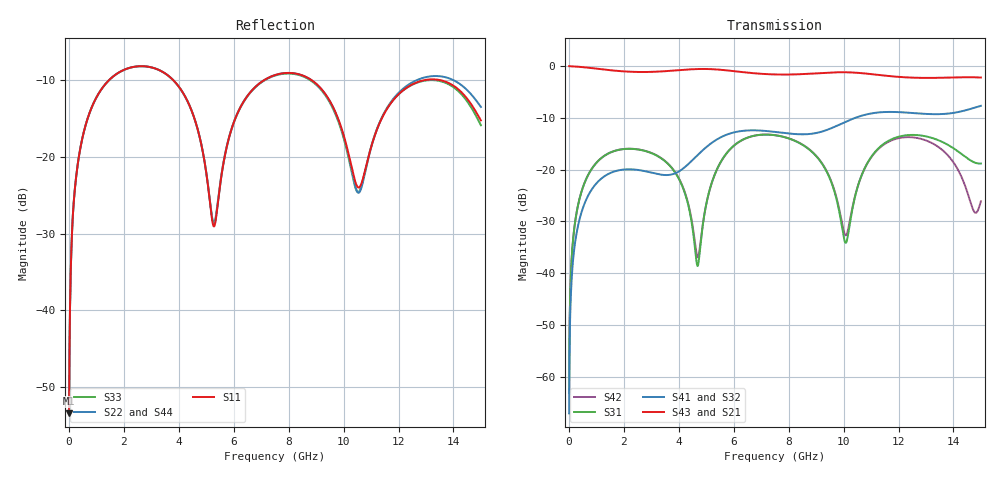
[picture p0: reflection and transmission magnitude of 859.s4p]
! Created with skrf 1.8.0 (http://scikit-rf.org).
# GHz S RI R 50.0
!freq ReS11 ImS11 ReS12 ImS12 ReS13 ImS13
! ReS14 ImS14
! ReS21 ImS21 ReS22 ImS22 ReS23 ImS23
! ReS24 ImS24
! ReS31 ImS31 ReS32 ImS32 ReS33 ImS33
! ReS34 ImS34
! ReS41 ImS41 ReS42 ImS42 ReS43 ImS43
! ReS44 ImS44
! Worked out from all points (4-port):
!   2499 points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, 5 MHz to 15 GHz, reference 50 ohm
!   strongest paths, dB at 5 MHz, 3.476 GHz, 7.19 GHz, 11.1 GHz, 15 GHz:
!     S43: 0.0, -1.0, -1.5, -1.6, -2.2
!     S21: 0.0, -1.0, -1.6, -1.6, -2.2
!     S41: -67.1, -21.0, -12.5, -9.1, -7.7
!     S32: -67.1, -21.0, -12.6, -9.1, -7.7
!     S31: -63.0, -18.3, -13.2, -16.9, -18.8
!     S42: -63.0, -18.2, -13.2, -17.0, -26.1
!   lowest |S11| = -53.4 dB at 5 MHz (marker M1), VSWR 1.00, Z = 50.2 + j0.129 ohm
!   |S11| at or under -10 dB: start of sweep to 1.445 GHz; 3.81 GHz to 7.086 GHz (3.276 GHz wide, 60.1 % of centre); 8.853 GHz to 12.89 GHz (4.034 GHz wide, 37.1 % of centre) (the widest 3 of 4)
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0.005  0.0017 0.00129  0.9983 -0.00331  8.65e-05 0.0007  -8.39e-05 -0.000435
       0.9983 -0.00331  0.0017 0.00129  -8.39e-05 -0.000435  8.65e-05 0.0007
       8.65e-05 0.0007  -8.39e-05 -0.000435  0.0017 0.00129  0.9983 -0.00331
       -8.39e-05 -0.000435  8.65e-05 0.0007  0.9983 -0.00331  0.0017 0.00129
0.3626511  0.0322 0.0961  0.9556 -0.2364  0.0158 0.047  -0.0131 -0.0285
           0.9556 -0.2364  0.0321 0.0961  -0.0131 -0.0285  0.0159 0.047
           0.0158 0.047  -0.0131 -0.0285  0.0322 0.0961  0.9556 -0.2363
           -0.0131 -0.0285  0.0159 0.047  0.9556 -0.2363  0.0321 0.0961
1.619545  0.2935 0.166  0.4946 -0.759  0.1395 0.0559  -0.0953 0.0031
          0.4946 -0.759  0.2933 0.1663  -0.0953 0.0031  0.1401 0.055
          0.1395 0.0559  -0.0953 0.0031  0.2935 0.166  0.4947 -0.759
          -0.0953 0.0031  0.1401 0.055  0.4947 -0.759  0.2932 0.1662
5.120884  0.0362 -0.0391  -0.9234 -0.1512  -0.0077 0.0632  -0.0263 0.1731
          -0.9234 -0.1512  0.0379 -0.0384  -0.0261 0.173  -0.00976 0.0625
          -0.0077 0.0632  -0.0261 0.173  0.0369 -0.0394  -0.9233 -0.1515
          -0.0263 0.1731  -0.00976 0.0625  -0.9233 -0.1515  0.0373 -0.0389
8.190913  0.3498 -0.0433  -0.0034 0.8294  0.1732 -0.0819  0.2082 -0.0744
          -0.0034 0.8294  0.3494 -0.0451  0.2078 -0.0743  0.1732 -0.0831
          0.1732 -0.0819  0.2078 -0.0743  0.346 -0.045  -0.0038 0.8309
          0.2082 -0.0744  0.1732 -0.0831  -0.0038 0.8309  0.3458 -0.0427
10.91705  0.0839 0.0583  0.8407 -0.0435  0.0533 0.1098  -0.0386 -0.343
          0.8407 -0.0435  0.0794 0.0619  -0.0384 -0.3433  0.0458 0.1121
          0.0533 0.1098  -0.0384 -0.3433  0.0812 0.0629  0.8405 -0.0437
          -0.0386 -0.343  0.0458 0.1121  0.8405 -0.0437  0.082 0.0664
15  0.1596 -0.0685  -0.5557 -0.5374  -0.1091 -0.0351  -0.2869 0.2977
    -0.5557 -0.5374  0.1857 -0.1036  -0.2871 0.2973  -0.045 0.0206
    -0.1091 -0.0351  -0.2871 0.2973  0.1486 -0.0629  -0.5572 -0.5389
    -0.2869 0.2977  -0.045 0.0206  -0.5572 -0.5389  0.1817 -0.0923
